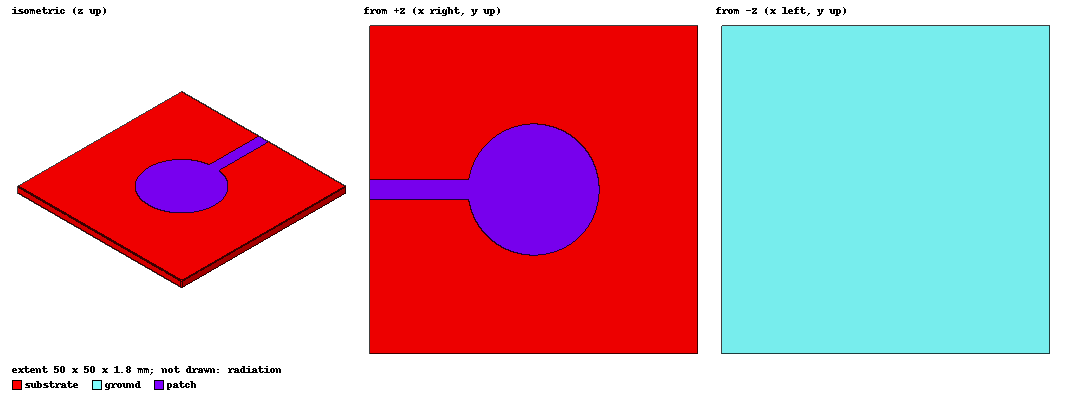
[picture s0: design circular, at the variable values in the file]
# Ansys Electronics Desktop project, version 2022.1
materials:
  vacuum: permittivity=1
  FR4_epoxy: permittivity=4.4 dielectric_loss_tangent=0.02

design circular (HFSS, DrivenModal, model units mm)
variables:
  taban_en = 50mm
  taban_boy = 50mm
  h = 1.8mm
  rad = 10mm
  feed_en = 3mm
  feed_boy = 25mm
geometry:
  ground = rectangle(corner=(-taban_boy/2, -taban_en/2, 0mm), x_size=taban_boy, y_size=taban_boy)
  substrate [FR4_epoxy] = box(corner=(-taban_boy /2, -taban_en/2, 0mm), size=(taban_boy, taban_en, h))
  patch = circle(normal=Z, centre=(0mm, 0mm, h), radius=rad)
  radiation [vacuum] = box(corner=(-200mm, -200mm, -25mm), size=(400mm, 400mm, 50mm))
  port = rectangle(corner=(-taban_boy/2, -feed_en/2, h), y_size=feed_en, z_size=-h)
  feed = rectangle(corner=(-taban_boy/2, -feed_en/2, h), x_size=feed_boy, y_size=feed_en)
  patch.unite(feed)
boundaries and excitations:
  PerfE2: Perfect E Objects=ground
  Rad1: Radiation Objects=radiation
  PerfE3: Perfect E Objects=port
  PerfE5: Perfect E Objects=patch
  1: Lumped Port Objects=port Modes{Mode1{IntLine{(-25, 0, 0) -> (-25, 0, 1.8)} CharImp=Zpi RenormImp=50ohm}} Impedance=50ohm
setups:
  Setup1: HfssDriven Frequency=3.6GHz MaxDeltaS=0.02 MaximumPasses=6 MinimumPasses=1 MinimumConvergedPasses=1 PercentRefinement=30 BasisOrder=1 PortAccuracy=2 DrivenSolverType="Direct Solver"
    sweep Sweep: 1.8GHz to 5.4GHz step 0.01GHz; Type=Interpolating InterpTolerance=0.5 InterpMaxSolns=250 InterpUsePortImped=false PassivityErrorTolerance=0.0001
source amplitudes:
  1:1: 1W 0deg
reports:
  S Parameter Plot 1: dB(S(1,1)) vs Freq on Setup1 : Sweep
  S Parameter Plot 2: dB(S(1,1)) vs Freq on Setup1 : Sweep [taban_en=all taban_boy=all rad=all feed_boy=all]
  S Parameter Plot 3: dB(S(1,1)) vs Freq on Setup1 : Sweep [taban_en=all taban_boy=all]
